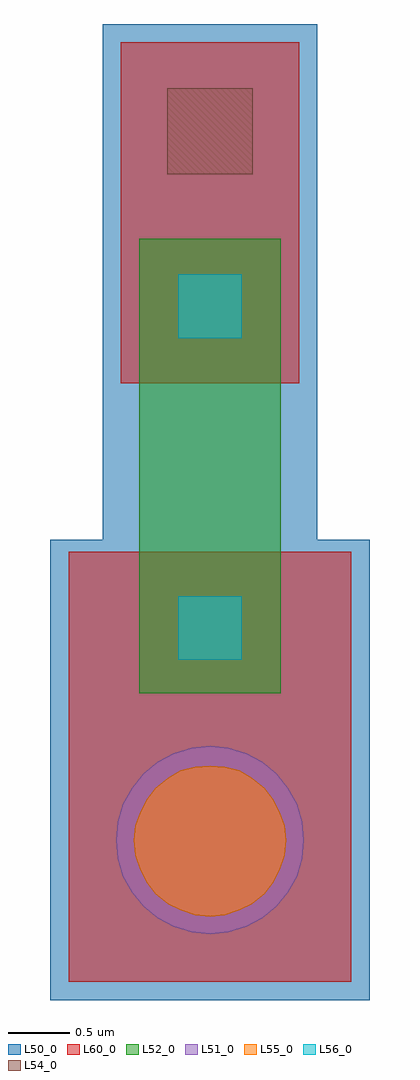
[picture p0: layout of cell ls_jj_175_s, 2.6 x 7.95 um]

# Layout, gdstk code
import gdstk
lib = gdstk.Library(unit=1e-6, precision=1e-09)
def R(c, l, rs):  # rectangles x0, y0, x1, y1
    for r in rs: c.add(gdstk.rectangle(r[:2], r[2:], *l))
def P(c, l, *ps):  # polygons
    for p in ps: c.add(gdstk.Polygon(p, *l))
L50_0 = (50, 0)
L51_0 = (51, 0)
L52_0 = (52, 0)
L54_0 = (54, 0)
L55_0 = (55, 0)
L56_0 = (56, 0)
L60_0 = (60, 0)

ls_jj_175_s = lib.new_cell('ls_jj_175_s')
R(ls_jj_175_s, L50_0, [(-1.3,-1.3,1.3,2.45), (-0.875,2.45,0.875,6.65)])
P(ls_jj_175_s, L51_0, [(0,-0.765),(0.15,-0.75),(0.295,-0.705),(0.425,-0.635),(0.54,-0.54),(0.635,-0.425),(0.71,-0.29),(0.75,-0.15),(0.765,0),(0.75,0.15),(0.71,0.295),(0.635,0.43),(0.54,0.545),(0.425,0.64),(0.295,0.71),(0.15,0.755),(0,0.77),(-0.15,0.755),(-0.295,0.71),(-0.425,0.64),(-0.54,0.545),(-0.635,0.43),(-0.71,0.295),(-0.75,0.15),(-0.765,0),(-0.75,-0.15),(-0.71,-0.29),(-0.635,-0.425),(-0.54,-0.54),(-0.425,-0.635),(-0.295,-0.705),(-0.15,-0.75)])
R(ls_jj_175_s, L52_0, [(-0.575,1.2,0.575,4.9)])
R(ls_jj_175_s, L54_0, [(-0.35,5.425,0.35,6.125)])
P(ls_jj_175_s, L55_0, [(0,-0.62),(0.12,-0.61),(0.24,-0.57),(0.34,-0.52),(0.44,-0.44),(0.51,-0.35),(0.57,-0.24),(0.61,-0.12),(0.62,0),(0.61,0.12),(0.57,0.23),(0.51,0.34),(0.44,0.43),(0.34,0.51),(0.24,0.57),(0.12,0.6),(0,0.61),(-0.12,0.6),(-0.24,0.57),(-0.34,0.51),(-0.44,0.43),(-0.51,0.34),(-0.57,0.23),(-0.61,0.12),(-0.62,0),(-0.61,-0.12),(-0.57,-0.24),(-0.51,-0.35),(-0.44,-0.44),(-0.34,-0.52),(-0.24,-0.57),(-0.12,-0.61)])
R(ls_jj_175_s, L56_0, [(-0.26,1.47,0.26,1.99), (-0.26,4.09,0.26,4.61)])
R(ls_jj_175_s, L60_0, [(-1.15,-1.15,1.15,2.35), (-0.725,3.725,0.725,6.5)])

lib.write_gds('ls_jj_175_s.gds')
